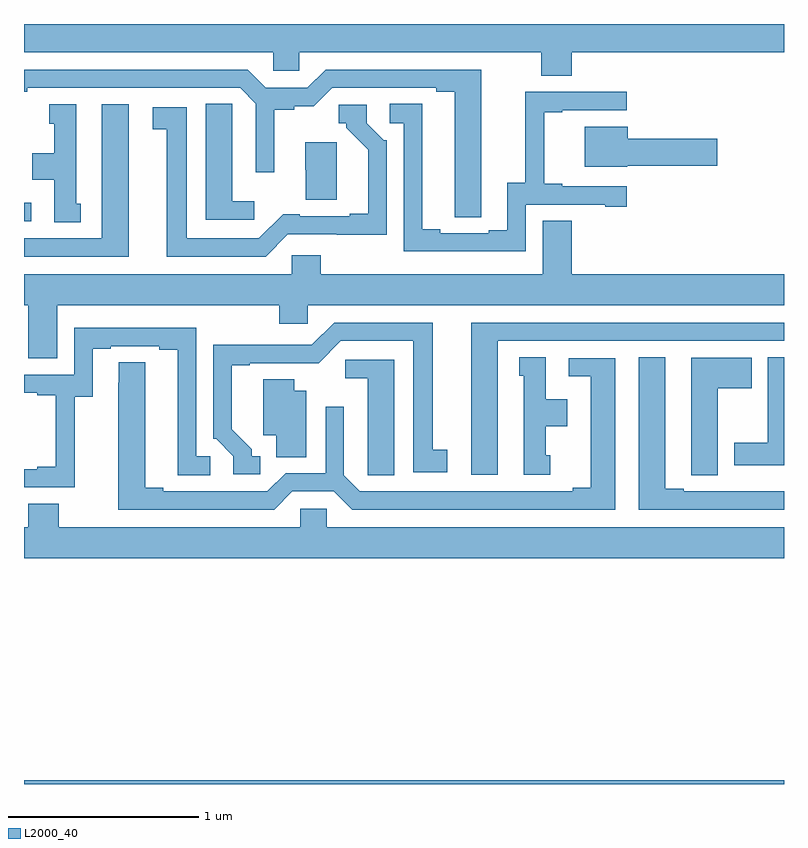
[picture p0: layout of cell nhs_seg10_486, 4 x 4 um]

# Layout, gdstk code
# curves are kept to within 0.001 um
import gdstk
lib = gdstk.Library(unit=1e-6, precision=1e-09)
def R(c, l, rs):  # rectangles x0, y0, x1, y1
    for r in rs: c.add(gdstk.rectangle(r[:2], r[2:], *l))
def P(c, l, *ps):  # polygons
    for p in ps: c.add(gdstk.Polygon(p, *l))
L2000_40 = (2000, 40)

nhs_seg10_486 = lib.new_cell('nhs_seg10_486')
R(nhs_seg10_486, L2000_40, [(135,1260.5,139,1260.52), (135,1263.462,135.037,1263.558)])
P(nhs_seg10_486, L2000_40, [(137.882,1264.352),(139,1264.352),(139,1264.5),(135,1264.5),(135,1264.352),(136.311,1264.352),(136.311,1264.254),(136.449,1264.254),(136.449,1264.352),(137.722,1264.352),(137.722,1264.228),(137.882,1264.228)],
  [(137.406,1263.592),(137.407,1264.26),(136.587,1264.26),(136.491,1264.164),(136.273,1264.164),(136.177,1264.26),(135,1264.26),(135,1264.144),(135.016,1264.144),(135.016,1264.164),(136.137,1264.164),(136.221,1264.08),(136.221,1263.72),(136.318,1263.72),(136.318,1264.048),(136.422,1264.048),(136.422,1264.067),(136.526,1264.067),(136.623,1264.164),(137.171,1264.164),(137.171,1264.144),(137.267,1264.144),(137.267,1263.484),(137.406,1263.484)],
  [(137.64,1263.549),(138.059,1263.549),(138.059,1263.537),(138.172,1263.537),(138.172,1263.645),(137.833,1263.645),(137.833,1263.658),(137.738,1263.658),(137.738,1264.035),(137.833,1264.035),(137.833,1264.047),(138.172,1264.047),(138.172,1264.143),(137.638,1264.143),(137.638,1263.665),(137.543,1263.665),(137.543,1263.414),(137.447,1263.414),(137.447,1263.399),(137.191,1263.399),(137.191,1263.419),(137.095,1263.419),(137.095,1264.079),(136.926,1264.079),(136.926,1263.978),(136.998,1263.978),(136.998,1263.303),(137.64,1263.303)],
  [(136.213,1263.568),(136.096,1263.568),(136.096,1263.971),(136.095,1263.971),(136.095,1264.079),(135.956,1264.079),(135.956,1263.471),(136.213,1263.471)],
  [(135.55,1264.078),(135.41,1264.078),(135.41,1263.372),(135,1263.372),(135,1263.276),(135.55,1263.276)],
  [(135.298,1263.555),(135.274,1263.555),(135.274,1264.078),(135.134,1264.078),(135.134,1263.975),(135.158,1263.975),(135.158,1263.82),(135.044,1263.82),(135.044,1263.68),(135.158,1263.68),(135.158,1263.457),(135.298,1263.457)],
  [(136.389,1263.393),(136.908,1263.392),(136.908,1263.888),(136.893,1263.888),(136.803,1263.978),(136.803,1264.074),(136.656,1264.074),(136.656,1263.978),(136.695,1263.978),(136.695,1263.955),(136.811,1263.838),(136.811,1263.502),(136.715,1263.502),(136.715,1263.489),(136.45,1263.489),(136.45,1263.5),(136.364,1263.5),(136.236,1263.372),(135.856,1263.372),(135.856,1264.062),(135.678,1264.062),(135.678,1263.946),(135.752,1263.946),(135.752,1263.276),(136.272,1263.276)],
  [(138.174,1263.755),(138.649,1263.755),(138.649,1263.897),(138.178,1263.897),(138.178,1263.958),(137.951,1263.958),(137.951,1263.749),(138.174,1263.749)],
  [(136.645,1263.877),(136.481,1263.877),(136.481,1263.732),(136.483,1263.732),(136.483,1263.574),(136.645,1263.574)],
  [(135.175,1263.02),(136.343,1263.02),(136.343,1262.922),(136.494,1262.922),(136.494,1263.02),(139,1263.02),(139,1263.184),(137.882,1263.184),(137.882,1263.464),(137.729,1263.464),(137.729,1263.184),(136.562,1263.184),(136.562,1263.282),(136.41,1263.282),(136.41,1263.184),(135,1263.184),(135,1263.02),(135.023,1263.02),(135.023,1262.74),(135.175,1262.74)],
  [(137.494,1262.832),(139,1262.832),(139,1262.928),(137.354,1262.928),(137.354,1262.127),(137.494,1262.127)],
  [(136.243,1262.226),(136.198,1262.226),(136.198,1262.261),(136.093,1262.366),(136.093,1262.703),(136.189,1262.703),(136.189,1262.715),(136.55,1262.714),(136.668,1262.832),(137.048,1262.832),(137.048,1262.142),(137.227,1262.142),(137.227,1262.258),(137.152,1262.258),(137.152,1262.928),(136.632,1262.928),(136.515,1262.811),(136.259,1262.811),(136.259,1262.813),(135.996,1262.813),(135.996,1262.316),(136.011,1262.316),(136.101,1262.226),(136.101,1262.13),(136.243,1262.13)],
  [(135.267,1262.539),(135.361,1262.539),(135.361,1262.79),(135.457,1262.79),(135.457,1262.805),(135.713,1262.805),(135.713,1262.785),(135.809,1262.785),(135.809,1262.125),(135.979,1262.125),(135.979,1262.226),(135.906,1262.226),(135.906,1262.901),(135.264,1262.901),(135.264,1262.655),(135,1262.655),(135,1262.559),(135.071,1262.559),(135.071,1262.547),(135.167,1262.547),(135.167,1262.17),(135.071,1262.17),(135.071,1262.157),(135,1262.157),(135,1262.061),(135.267,1262.061)],
  [(139,1262.747),(138.914,1262.747),(138.914,1262.295),(138.737,1262.295),(138.737,1262.178),(139,1262.178)],
  [(137.77,1262.229),(137.746,1262.229),(137.746,1262.384),(137.86,1262.384),(137.86,1262.524),(137.746,1262.524),(137.746,1262.747),(137.606,1262.747),(137.606,1262.649),(137.63,1262.649),(137.63,1262.127),(137.77,1262.127)],
  [(139,1262.04),(138.914,1262.04),(138.914,1262.041),(138.748,1262.041),(138.748,1262.04),(138.472,1262.04),(138.472,1262.055),(138.376,1262.055),(138.376,1262.747),(138.236,1262.747),(138.236,1261.944),(139,1261.944)],
  [(138.652,1262.584),(138.829,1262.584),(138.829,1262.743),(138.512,1262.743),(138.512,1262.233),(138.513,1262.233),(138.513,1262.125),(138.652,1262.125)],
  [(136.413,1262.04),(136.631,1262.04),(136.727,1261.944),(138.112,1261.944),(138.112,1262.742),(137.868,1262.742),(137.868,1262.646),(137.984,1262.646),(137.984,1262.06),(137.888,1262.06),(137.888,1262.04),(136.767,1262.04),(136.683,1262.124),(136.683,1262.485),(136.587,1262.485),(136.587,1262.136),(136.377,1262.136),(136.281,1262.04),(135.733,1262.04),(135.733,1262.06),(135.637,1262.06),(135.637,1262.72),(135.498,1262.72),(135.497,1261.944),(136.317,1261.944)],
  [(136.948,1262.733),(136.692,1262.733),(136.692,1262.636),(136.808,1262.636),(136.808,1262.233),(136.809,1262.233),(136.809,1262.125),(136.948,1262.125)],
  [(136.486,1262.569),(136.423,1262.569),(136.423,1262.63),(136.259,1262.63),(136.259,1262.336),(136.328,1262.336),(136.328,1262.221),(136.486,1262.221)],
  [(139,1261.852),(136.593,1261.852),(136.593,1261.95),(136.455,1261.95),(136.455,1261.852),(135.183,1261.852),(135.183,1261.976),(135.023,1261.976),(135.023,1261.852),(135,1261.852),(135,1261.688),(139,1261.688)])

lib.write_gds('nhs_seg10_486.gds')
